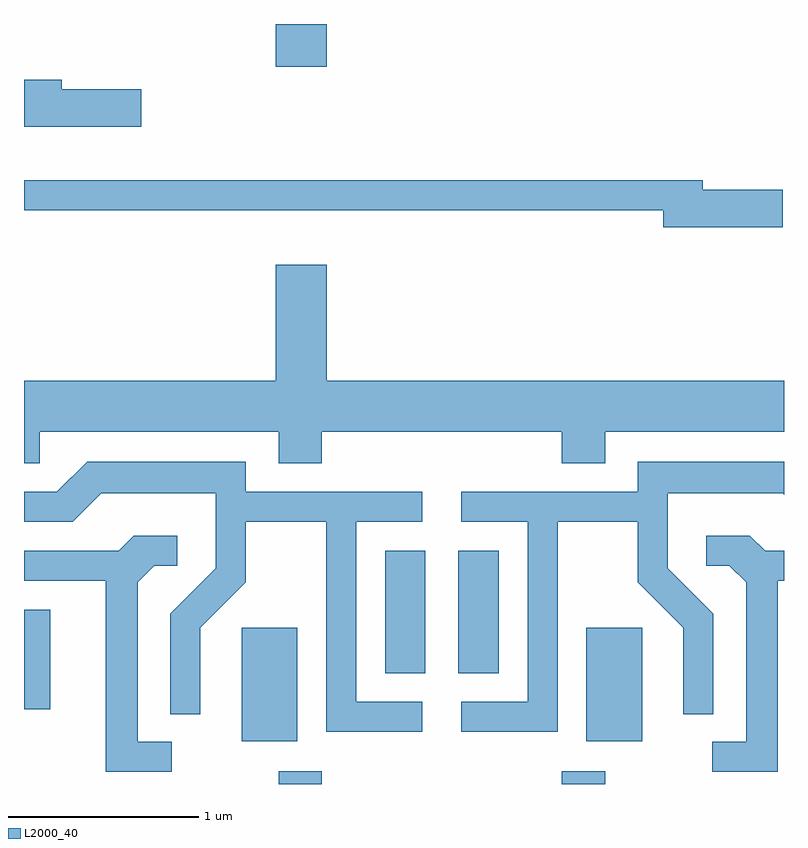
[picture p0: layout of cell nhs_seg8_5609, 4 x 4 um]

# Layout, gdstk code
import gdstk
lib = gdstk.Library(unit=1e-6, precision=1e-09)
def R(c, l, rs):  # rectangles x0, y0, x1, y1
    for r in rs: c.add(gdstk.rectangle(r[:2], r[2:], *l))
def P(c, l, *ps):  # polygons
    for p in ps: c.add(gdstk.Polygon(p, *l))
L2000_40 = (2000, 40)

nhs_seg8_5609 = lib.new_cell('nhs_seg8_5609')
R(nhs_seg8_5609, L2000_40, [(354.951,1832.342,355.179,1832.409), (356.441,1832.342,356.669,1832.409), (354.756,1832.566,355.049,1833.164), (356.571,1832.566,356.864,1833.164), (353.611,1832.736,353.749,1833.259), (355.511,1832.926,355.724,1833.569), (355.896,1832.926,356.109,1833.569), (354.936,1836.116,355.204,1836.342)])
P(nhs_seg8_5609, L2000_40, [(354.229,1835.999),(353.809,1835.999),(353.809,1836.049),(353.611,1836.049),(353.611,1835.801),(354.229,1835.801)],
  [(357.604,1835.469),(357.184,1835.469),(357.184,1835.519),(353.611,1835.519),(353.611,1835.361),(356.976,1835.361),(356.976,1835.271),(357.604,1835.271)],
  [(353.694,1834.196),(354.951,1834.196),(354.951,1834.031),(355.179,1834.031),(355.179,1834.196),(356.441,1834.196),(356.441,1834.031),(356.669,1834.031),(356.669,1834.196),(357.611,1834.196),(357.611,1834.464),(355.204,1834.464),(355.204,1835.074),(354.936,1835.074),(354.936,1834.464),(353.611,1834.464),(353.611,1834.031),(353.694,1834.031)],
  [(356.419,1833.721),(356.841,1833.721),(356.841,1833.404),(357.081,1833.164),(357.081,1832.708),(357.239,1832.708),(357.239,1833.237),(356.999,1833.477),(356.999,1833.871),(357.604,1833.871),(357.611,1833.864),(357.611,1834.039),(356.841,1834.039),(356.841,1833.879),(355.913,1833.879),(355.913,1833.721),(356.261,1833.721),(356.261,1832.774),(355.913,1832.774),(355.913,1832.616),(356.419,1832.616)],
  [(355.708,1832.774),(355.359,1832.774),(355.359,1833.721),(355.708,1833.721),(355.708,1833.879),(354.779,1833.879),(354.779,1834.039),(353.944,1834.039),(353.784,1833.879),(353.611,1833.879),(353.611,1833.721),(353.867,1833.721),(354.017,1833.871),(354.621,1833.871),(354.621,1833.477),(354.381,1833.237),(354.381,1832.708),(354.539,1832.708),(354.539,1833.164),(354.779,1833.404),(354.779,1833.721),(355.201,1833.721),(355.201,1832.616),(355.708,1832.616)],
  [(357.579,1833.411),(357.611,1833.411),(357.611,1833.569),(357.512,1833.569),(357.432,1833.649),(357.203,1833.649),(357.203,1833.491),(357.324,1833.491),(357.411,1833.404),(357.411,1832.564),(357.233,1832.564),(357.233,1832.406),(357.579,1832.406)],
  [(354.388,1832.564),(354.209,1832.564),(354.209,1833.404),(354.297,1833.491),(354.418,1833.491),(354.418,1833.649),(354.189,1833.649),(354.109,1833.569),(353.611,1833.569),(353.611,1833.411),(354.041,1833.411),(354.041,1832.406),(354.388,1832.406)])

lib.write_gds('nhs_seg8_5609.gds')
